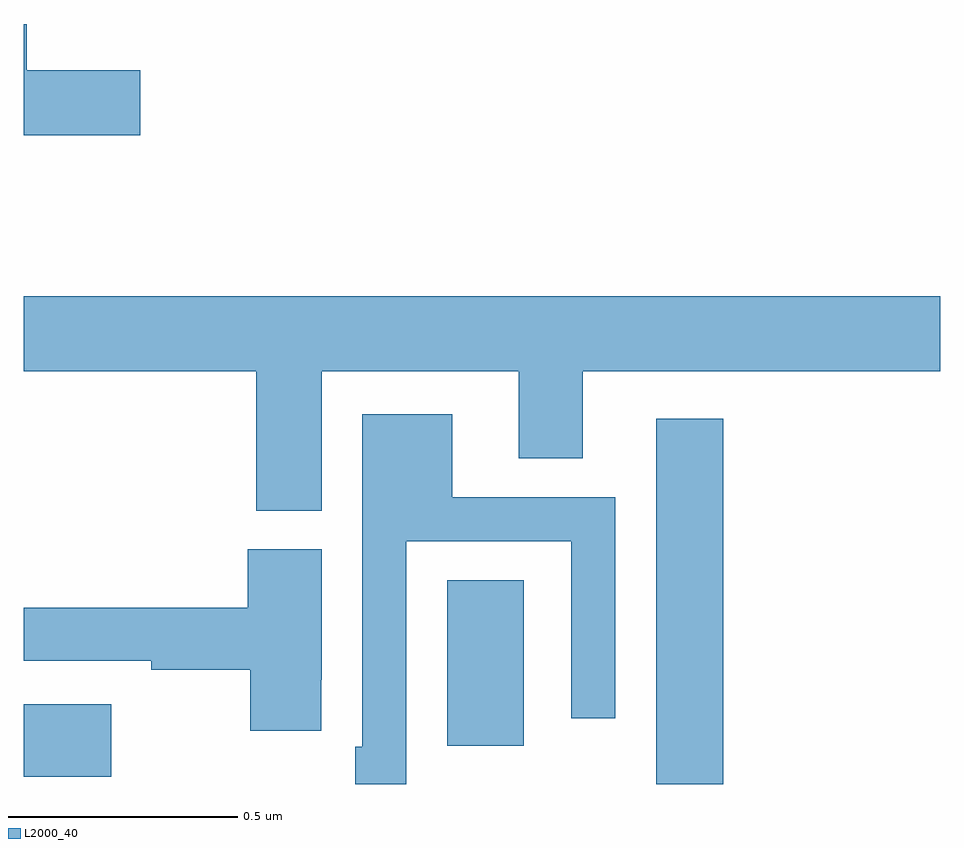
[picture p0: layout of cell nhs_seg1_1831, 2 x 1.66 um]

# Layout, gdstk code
import gdstk
lib = gdstk.Library(unit=1e-6, precision=1e-09)
def R(c, l, rs):  # rectangles x0, y0, x1, y1
    for r in rs: c.add(gdstk.rectangle(r[:2], r[2:], *l))
def P(c, l, *ps):  # polygons
    for p in ps: c.add(gdstk.Polygon(p, *l))
L2000_40 = (2000, 40)

nhs_seg1_1831 = lib.new_cell('nhs_seg1_1831')
R(nhs_seg1_1831, L2000_40, [(135.38,516.199,135.527,516.996), (134,516.215,134.191,516.373), (134.924,516.282,135.091,516.644)])
P(nhs_seg1_1831, L2000_40, [(134.254,517.757),(134.006,517.757),(134.006,517.858),(134,517.858),(134,517.615),(134.254,517.615)],
  [(134.65,517.1),(135.08,517.1),(135.08,516.91),(135.22,516.91),(135.22,517.1),(136,517.1),(136,517.264),(134,517.264),(134,517.1),(134.507,517.1),(134.507,516.796),(134.65,516.796)],
  [(134.835,516.729),(135.195,516.729),(135.195,516.342),(135.291,516.342),(135.291,516.825),(134.935,516.825),(134.935,517.006),(134.739,517.006),(134.739,516.28),(134.723,516.28),(134.723,516.199),(134.835,516.199)],
  [(134.649,516.427),(134.65,516.427),(134.65,516.711),(134.489,516.711),(134.489,516.584),(134,516.584),(134,516.468),(134.278,516.468),(134.278,516.448),(134.494,516.448),(134.494,516.315),(134.649,516.315)])

lib.write_gds('nhs_seg1_1831.gds')
